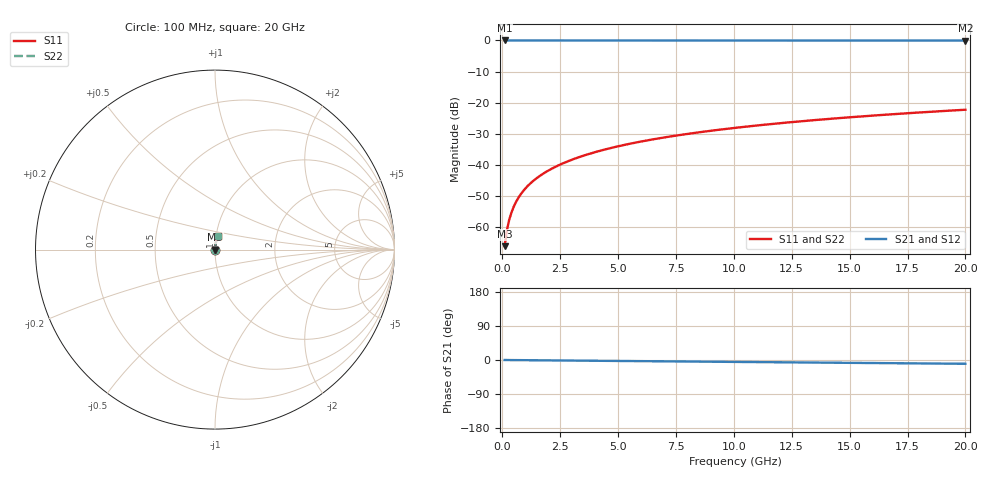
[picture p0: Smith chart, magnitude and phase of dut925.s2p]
! Touchstone file exported from HFSS 2026.1.0
!  File:  C:/ffzhzh/LocalFiles/Ansys_Project_Files/temp_train_TSV_925_1783186720_22436.aedt
!  Generated:  01:40:26 AM Jul  5, 2026
!  Design:  TSV
!  Project:  temp_train_TSV_925_1783186720_22436
! Variables:
!  h_bsmrdl = 2um
!  h_ox = 20um
!  h_rdl = 5um
!  h_sub = 85.85um
!  h_tmrdl = 5um
!  h_tsv = 85.85um
!  h_via = 3um
!  l_bsmrdl = 300um
!  l_sub = 413.84um
!  l_tmrdl = 200um
!  m_sub = 200um
!  pitch = 54.51um
!  r_tsv = 6.92um
!  s_tmrdl = 10um
!  w_bsmrdl = 18um
!  w_sub = 500um
!  w_tmrdl = 12um
!  x_tsv_center1 = 206um
!  x_tsv_center2 = 524um
!  x_tsv_center3 = 736um
!  x_tsv_center4 = 1054um
!  x_tsv_center5 = 1266um
!  x_tsv_center6 = 1584um
# GHz S MA R 50.000000
! Terminal data exported
! Port[1] = TSV1_1_T1
! Port[2] = TSV1_1_T2
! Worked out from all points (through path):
!   200 points, 100 MHz to 20 GHz, reference 50 ohm
!   highest |S21| = 0.00 dB at 100 MHz (marker M1); lowest = 0.0 dB at 20 GHz (marker M2)
!   group delay of S21, straight-line fit = 1.38 ps
!   lowest |S11| = -66.1 dB at 100 MHz (marker M3), VSWR 1.00, Z = 50 + j0.0432 ohm
!   |S11| at or under -10 dB: start of sweep to end of sweep
!   |S22| runs from -66.1 to -22.3 dB; largest |S21 - S12| = 4.5e-15
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0.1  0.0004932 61.1  0.9998 -0.1  0.9998 -0.1  0.0004932 61.1
! Gamma 0 0 0 0
! Port Impedance 50 0 50 0
0.2  0.0008967 73.9  0.9998 -0.1  0.9998 -0.1  0.0008967 73.9
0.3  0.001315 78.4  0.9997 -0.2  0.9997 -0.2  0.001315 78.4
0.4  0.001735 80.5  0.9997 -0.2  0.9997 -0.2  0.001735 80.5
0.5  0.002151 81.7  0.9997 -0.3  0.9997 -0.3  0.002151 81.7
0.6  0.002565 82.4  0.9997 -0.3  0.9997 -0.3  0.002565 82.4
0.7  0.002975 83.0  0.9997 -0.4  0.9997 -0.4  0.002975 83.0
0.8  0.003381 83.3  0.9996 -0.4  0.9996 -0.4  0.003381 83.3
1  0.004187 83.9  0.9996 -0.5  0.9996 -0.5  0.004187 83.9
1.4  0.005777 84.5  0.9995 -0.7  0.9995 -0.7  0.005777 84.5
1.7  0.006962 84.8  0.9994 -0.9  0.9994 -0.9  0.006962 84.8
2  0.008144 85.0  0.9994 -1.0  0.9994 -1.0  0.008144 85.0
2.7  0.0109 85.3  0.9993 -1.4  0.9993 -1.4  0.0109 85.3
3.5  0.01403 85.3  0.9992 -1.8  0.9992 -1.8  0.01403 85.3
4.2  0.01676 85.2  0.9991 -2.1  0.9991 -2.1  0.01676 85.2
5  0.01987 85.0  0.9989 -2.5  0.9989 -2.5  0.01987 85.0
6.8  0.02684 84.4  0.9986 -3.4  0.9986 -3.4  0.02684 84.4
8.3  0.03261 83.9  0.9983 -4.2  0.9983 -4.2  0.03261 83.9
10.1  0.03952 83.1  0.998 -5.1  0.998 -5.1  0.03952 83.1
13.4  0.05211 81.7  0.9972 -6.7  0.9972 -6.7  0.05211 81.7
16.7  0.0646 80.3  0.9963 -8.3  0.9963 -8.3  0.0646 80.3
20  0.07697 78.7  0.9953 -10.0  0.9953 -10.0  0.07697 78.7
